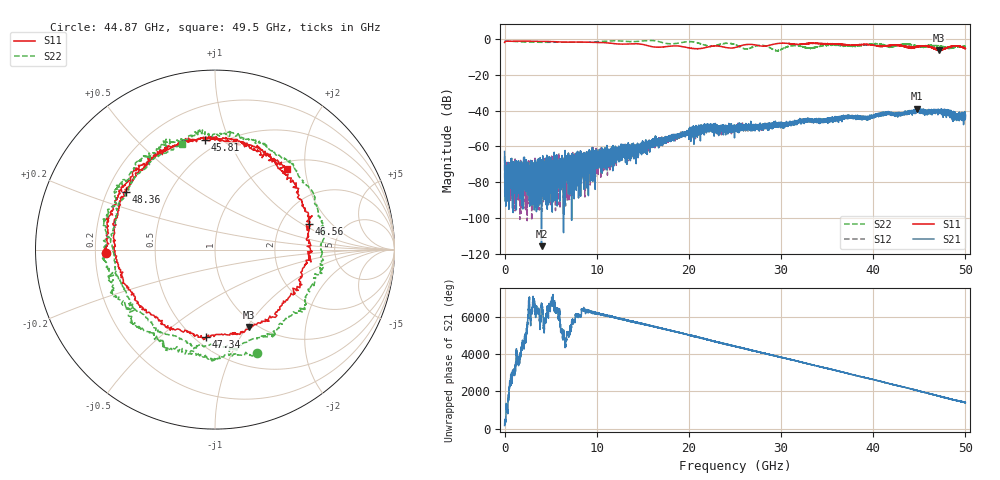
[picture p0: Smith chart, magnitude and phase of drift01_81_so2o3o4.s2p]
!Created with skrf (http://scikit-rf.org).
# Hz S RI R 50.0
!freq ReS11 ImS11 ReS21 ImS21 ReS12 ImS12 ReS22 ImS22
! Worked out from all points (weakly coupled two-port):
!   10001 points, 300 kHz to 50 GHz, reference 50 ohm
!   highest |S21| = -38.93 dB at 44.78 GHz (marker M1); lowest = -115.5 dB at 4.005 GHz (marker M2)
!   lowest |S11| = -6.5 dB at 47.14 GHz (marker M3), VSWR 2.78, Z = 46.1 - j51.1 ohm
!   |S11| at or under -10 dB: nowhere
!   |S22| runs from -6.8 to -1.0 dB; largest |S21 - S12| = 0.0042
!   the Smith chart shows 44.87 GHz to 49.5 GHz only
!   S11 on the Smith chart (normalised r, x): 44.87 GHz: 0.24, -0.02; 45.81 GHz: 0.42, +0.82; 46.56 GHz: 2.84, +1.15; 47.34 GHz: 0.57, -0.73; 48.36 GHz: 0.28, +0.27; 49.5 GHz: 1.14, +1.60
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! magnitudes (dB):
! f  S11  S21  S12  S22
! 300 kHz  -2.1  -62.8  -65.7  -1.3
! 255.3 MHz  -1.4  -72.5  -68.8  -1.4
! 4.005 GHz  -1.5  -115.5  -85.7  -2.0
! 6.3 GHz  -1.9  -76.5  -65.8  -1.9
! 8.335 GHz  -1.9  -80.6  -70.9  -2.1
! 16.67 GHz  -4.8  -58.0  -58.8  -1.6
! 21.83 GHz  -5.0  -50.0  -50.3  -3.7
! 25 GHz  -5.0  -50.2  -50.6  -3.4
! 28.07 GHz  -4.2  -47.7  -49.2  -3.9
! 29.56 GHz  -2.8  -48.2  -47.6  -6.7
! 31.3 GHz  -3.0  -47.4  -46.5  -3.9
! 33.34 GHz  -2.6  -45.3  -45.2  -5.4
! 41.67 GHz  -3.9  -41.8  -41.5  -4.3
! 44.78 GHz  -4.4  -38.9  -40.2  -4.2
! 44.87 GHz  -4.3  -40.8  -40.6  -4.1
! 45.81 GHz  -4.2  -40.7  -40.7  -4.1
! 46.56 GHz  -5.3  -40.3  -40.2  -3.5
! 47.14 GHz  -6.5  -40.4  -40.9  -4.1
! 47.34 GHz  -6.2  -40.1  -40.9  -4.2
! 48.36 GHz  -4.5  -42.1  -42.0  -5.2
! 49.5 GHz  -4.4  -43.0  -42.4  -4.2
! 50 GHz  -5.5  -42.8  -43.9  -4.2
